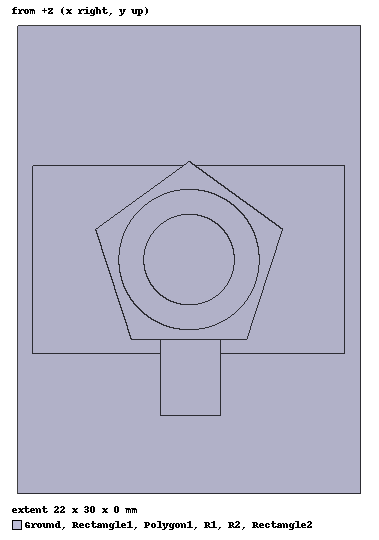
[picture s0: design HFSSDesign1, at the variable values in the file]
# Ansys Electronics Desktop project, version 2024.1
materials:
  vacuum: permittivity=1

design HFSSDesign1 (HFSS, HFSS Terminal Network, model units mm)
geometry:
  Ground = rectangle(corner=((-22/2) mm, (30/2) mm, 0mm), x_size=22mm, y_size=-30mm)
  Rectangle1 = rectangle(corner=((-20/2) mm, (12/2) mm, 0mm), x_size=20mm, y_size=-12mm)
  R2 = circle(normal=Z, centre=(0mm, 0mm, 0mm), radius=2.9mm)
  R1 = circle(normal=Z, centre=(0mm, 0mm, 0mm), radius=4.5mm)
  Polygon1 = regular_polygon(axis=Z, centre=(0mm, 0mm, 0mm), first_corner=(0mm, 6.3mm, 0mm), sides=5)
  Rectangle2 = rectangle(corner=(-1.8515235mm, -5.0968071mm, 0mm), x_size=3.8515235mm, y_size=-4.9031929mm)
